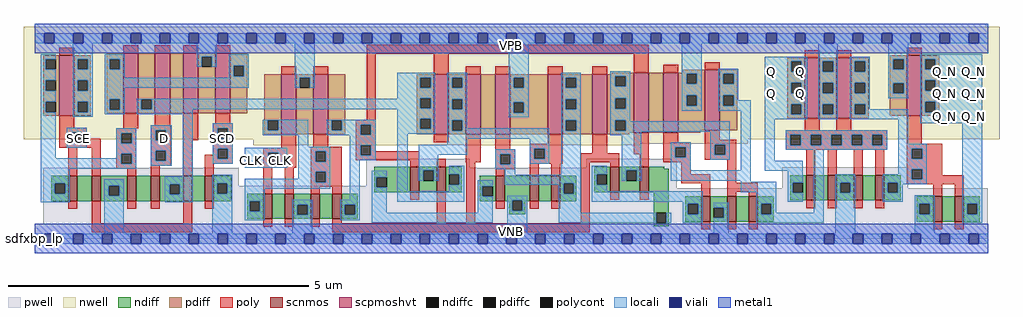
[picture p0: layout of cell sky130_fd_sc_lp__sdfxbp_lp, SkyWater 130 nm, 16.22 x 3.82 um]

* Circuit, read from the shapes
.subckt sky130_fd_sc_lp__sdfxbp_lp CLK D SCD SCE VGND VNB VPB VPWR Q Q_N
XM1 n1 SCE n2 VNB sky130_fd_pr__nfet_01v8 w=0.42 l=0.15
XM2 VGND SCE n1 VNB sky130_fd_pr__nfet_01v8 w=0.42 l=0.15
XM3 n3 n2 VGND VNB sky130_fd_pr__nfet_01v8 w=0.42 l=0.15
XM4 n4 D n3 VNB sky130_fd_pr__nfet_01v8 w=0.42 l=0.15
XM5 n5 SCE n4 VNB sky130_fd_pr__nfet_01v8 w=0.42 l=0.15
XM6 VGND SCD n5 VNB sky130_fd_pr__nfet_01v8 w=0.42 l=0.15
XM7 n6 CLK n7 VNB sky130_fd_pr__nfet_01v8 w=0.42 l=0.15
XM8 VGND CLK n6 VNB sky130_fd_pr__nfet_01v8 w=0.42 l=0.15
XM9 n8 n7 VGND VNB sky130_fd_pr__nfet_01v8 w=0.42 l=0.15
XM10 n9 n7 n8 VNB sky130_fd_pr__nfet_01v8 w=0.42 l=0.15
XM11 n10 n9 n11 VNB sky130_fd_pr__nfet_01v8 w=0.42 l=0.15
XM12 n4 n7 n10 VNB sky130_fd_pr__nfet_01v8 w=0.42 l=0.15
XM13 VGND n12 n11 VNB sky130_fd_pr__nfet_01v8 w=0.42 l=0.15
XM14 n13 n10 VGND VNB sky130_fd_pr__nfet_01v8 w=0.42 l=0.15
XM15 n12 n10 n13 VNB sky130_fd_pr__nfet_01v8 w=0.42 l=0.15
XM16 n14 n7 n15 VNB sky130_fd_pr__nfet_01v8 w=0.42 l=0.15
XM17 n12 n9 n14 VNB sky130_fd_pr__nfet_01v8 w=0.42 l=0.15
XM18 VGND n16 n15 VNB sky130_fd_pr__nfet_01v8 w=0.42 l=0.15
XM19 n17 n14 VGND VNB sky130_fd_pr__nfet_01v8 w=0.42 l=0.15
XM20 n16 n14 n17 VNB sky130_fd_pr__nfet_01v8 w=0.42 l=0.15
XM21 n18 n16 Q VNB sky130_fd_pr__nfet_01v8 w=0.42 l=0.15
XM22 VGND n16 n18 VNB sky130_fd_pr__nfet_01v8 w=0.42 l=0.15
XM23 n19 n16 VGND VNB sky130_fd_pr__nfet_01v8 w=0.42 l=0.15
XM24 n20 n16 n19 VNB sky130_fd_pr__nfet_01v8 w=0.42 l=0.15
XM25 n21 n20 VGND VNB sky130_fd_pr__nfet_01v8 w=0.42 l=0.15
XM26 Q_N n20 n21 VNB sky130_fd_pr__nfet_01v8 w=0.42 l=0.15
XM27 VPWR SCE n2 VPB sky130_fd_pr__pfet_01v8_hvt w=1 l=0.25
XM28 n4 n2 n22 VPB sky130_fd_pr__pfet_01v8_hvt w=1 l=0.25
XM29 n23 D n4 VPB sky130_fd_pr__pfet_01v8_hvt w=1 l=0.25
XM30 VPWR SCE n23 VPB sky130_fd_pr__pfet_01v8_hvt w=1 l=0.25
XM31 n22 SCD VPWR VPB sky130_fd_pr__pfet_01v8_hvt w=1 l=0.25
XM32 VPWR CLK n7 VPB sky130_fd_pr__pfet_01v8_hvt w=1 l=0.25
XM33 n9 n7 VPWR VPB sky130_fd_pr__pfet_01v8_hvt w=1 l=0.25
XM34 n10 n9 n4 VPB sky130_fd_pr__pfet_01v8_hvt w=1 l=0.25
XM35 n24 n7 n10 VPB sky130_fd_pr__pfet_01v8_hvt w=1 l=0.25
XM36 VPWR n12 n24 VPB sky130_fd_pr__pfet_01v8_hvt w=1 l=0.25
XM37 n12 n10 VPWR VPB sky130_fd_pr__pfet_01v8_hvt w=1 l=0.25
XM38 n14 n7 n12 VPB sky130_fd_pr__pfet_01v8_hvt w=1 l=0.25
XM39 n25 n9 n14 VPB sky130_fd_pr__pfet_01v8_hvt w=1 l=0.25
XM40 VPWR n16 n25 VPB sky130_fd_pr__pfet_01v8_hvt w=1 l=0.25
XM41 n16 n14 VPWR VPB sky130_fd_pr__pfet_01v8_hvt w=1 l=0.25
XM42 VPWR n16 Q VPB sky130_fd_pr__pfet_01v8_hvt w=1 l=0.25
XM43 n20 n16 VPWR VPB sky130_fd_pr__pfet_01v8_hvt w=1 l=0.25
XM44 Q_N n20 VPWR VPB sky130_fd_pr__pfet_01v8_hvt w=1 l=0.25
.ends

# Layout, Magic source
magic
tech sky130A
magscale 1 2
<< nwell >>
rect -38 331 3206 704
rect 726 316 2370 331
rect 726 311 2011 316
<< pwell >>
rect 1101 235 1445 265
rect 1833 258 2117 265
rect 1833 235 2133 258
rect 28 176 678 235
rect 1101 176 2133 235
rect 28 167 2133 176
rect 2484 167 2903 237
rect 28 49 3167 167
rect 0 0 3168 49
<< scnmos >>
rect 111 125 141 209
rect 189 125 219 209
rect 307 125 337 209
rect 385 125 415 209
rect 493 125 523 209
rect 565 125 595 209
rect 1248 155 1278 239
rect 1336 155 1366 239
rect 759 66 789 150
rect 831 66 861 150
rect 917 66 947 150
rect 989 66 1019 150
rect 1532 125 1562 209
rect 1644 125 1674 209
rect 1716 125 1746 209
rect 1912 155 1942 239
rect 2011 155 2041 239
rect 2215 57 2245 141
rect 2301 57 2331 141
rect 2373 57 2403 141
rect 2563 127 2593 211
rect 2635 127 2665 211
rect 2721 127 2751 211
rect 2793 127 2823 211
rect 2985 57 3015 141
rect 3057 57 3087 141
<< scpmoshvt >>
rect 81 409 131 609
rect 293 417 343 617
rect 399 417 449 617
rect 493 417 543 617
rect 599 417 649 617
rect 819 347 869 547
rect 925 347 975 547
rect 1326 347 1376 547
rect 1432 347 1482 547
rect 1530 347 1580 547
rect 1704 347 1754 547
rect 1852 347 1902 547
rect 1990 352 2040 552
rect 2089 352 2139 552
rect 2227 361 2277 561
rect 2558 401 2608 601
rect 2664 401 2714 601
rect 2898 409 2948 609
<< ndiff >>
rect 54 184 111 209
rect 54 150 66 184
rect 100 150 111 184
rect 54 125 111 150
rect 141 125 189 209
rect 219 176 307 209
rect 219 142 246 176
rect 280 142 307 176
rect 219 125 307 142
rect 337 125 385 209
rect 415 181 493 209
rect 415 147 448 181
rect 482 147 493 181
rect 415 125 493 147
rect 523 125 565 209
rect 595 184 652 209
rect 595 150 606 184
rect 640 150 652 184
rect 1127 205 1248 239
rect 1127 171 1135 205
rect 1169 171 1248 205
rect 1127 155 1248 171
rect 1278 227 1336 239
rect 1278 193 1291 227
rect 1325 193 1336 227
rect 1278 155 1336 193
rect 1366 214 1419 239
rect 1366 180 1377 214
rect 1411 180 1419 214
rect 1366 155 1419 180
rect 595 125 652 150
rect 706 125 759 150
rect 706 91 714 125
rect 748 91 759 125
rect 706 66 759 91
rect 789 66 831 150
rect 861 113 917 150
rect 861 79 872 113
rect 906 79 917 113
rect 861 66 917 79
rect 947 66 989 150
rect 1019 113 1073 150
rect 1019 79 1030 113
rect 1064 79 1073 113
rect 1019 66 1073 79
rect 1479 175 1532 209
rect 1479 141 1487 175
rect 1521 141 1532 175
rect 1479 125 1532 141
rect 1562 127 1644 209
rect 1562 125 1586 127
rect 1577 93 1586 125
rect 1620 125 1644 127
rect 1674 125 1716 209
rect 1746 184 1799 209
rect 1746 150 1757 184
rect 1791 150 1799 184
rect 1746 125 1799 150
rect 1620 93 1629 125
rect 1577 81 1629 93
rect 1859 214 1912 239
rect 1859 180 1867 214
rect 1901 180 1912 214
rect 1859 155 1912 180
rect 1942 227 2011 239
rect 1942 193 1966 227
rect 2000 193 2011 227
rect 1942 155 2011 193
rect 2041 232 2091 239
rect 2041 155 2107 232
rect 2056 87 2107 155
rect 2510 186 2563 211
rect 2510 152 2518 186
rect 2552 152 2563 186
rect 2056 53 2065 87
rect 2099 53 2107 87
rect 2161 116 2215 141
rect 2161 82 2170 116
rect 2204 82 2215 116
rect 2161 57 2215 82
rect 2245 103 2301 141
rect 2245 69 2256 103
rect 2290 69 2301 103
rect 2245 57 2301 69
rect 2331 57 2373 141
rect 2403 116 2456 141
rect 2510 127 2563 152
rect 2593 127 2635 211
rect 2665 186 2721 211
rect 2665 152 2676 186
rect 2710 152 2721 186
rect 2665 127 2721 152
rect 2751 127 2793 211
rect 2823 186 2877 211
rect 2823 152 2834 186
rect 2868 152 2877 186
rect 2823 127 2877 152
rect 2403 82 2414 116
rect 2448 82 2456 116
rect 2931 116 2985 141
rect 2403 57 2456 82
rect 2931 82 2940 116
rect 2974 82 2985 116
rect 2931 57 2985 82
rect 3015 57 3057 141
rect 3087 116 3141 141
rect 3087 82 3098 116
rect 3132 82 3141 116
rect 3087 57 3141 82
rect 2056 41 2107 53
<< pdiff >>
rect 27 597 81 609
rect 27 563 36 597
rect 70 563 81 597
rect 27 526 81 563
rect 27 492 36 526
rect 70 492 81 526
rect 27 455 81 492
rect 27 421 36 455
rect 70 421 81 455
rect 27 409 81 421
rect 131 597 185 609
rect 131 563 142 597
rect 176 563 185 597
rect 131 526 185 563
rect 131 492 142 526
rect 176 492 185 526
rect 131 455 185 492
rect 131 421 142 455
rect 176 421 185 455
rect 131 409 185 421
rect 239 597 293 617
rect 239 563 248 597
rect 282 563 293 597
rect 239 463 293 563
rect 239 429 248 463
rect 282 429 293 463
rect 239 417 293 429
rect 343 464 399 617
rect 343 430 354 464
rect 388 430 399 464
rect 343 417 399 430
rect 449 417 493 617
rect 543 605 599 617
rect 543 571 554 605
rect 588 571 599 605
rect 543 417 599 571
rect 649 574 706 617
rect 649 540 660 574
rect 694 540 706 574
rect 649 417 706 540
rect 762 394 819 547
rect 762 360 774 394
rect 808 360 819 394
rect 762 347 819 360
rect 869 535 925 547
rect 869 501 880 535
rect 914 501 925 535
rect 869 347 925 501
rect 975 394 1032 547
rect 2501 589 2558 601
rect 2154 552 2227 561
rect 1917 547 1990 552
rect 975 360 986 394
rect 1020 360 1032 394
rect 975 347 1032 360
rect 1269 535 1326 547
rect 1269 501 1281 535
rect 1315 501 1326 535
rect 1269 467 1326 501
rect 1269 433 1281 467
rect 1315 433 1326 467
rect 1269 399 1326 433
rect 1269 365 1281 399
rect 1315 365 1326 399
rect 1269 347 1326 365
rect 1376 535 1432 547
rect 1376 501 1387 535
rect 1421 501 1432 535
rect 1376 464 1432 501
rect 1376 430 1387 464
rect 1421 430 1432 464
rect 1376 393 1432 430
rect 1376 359 1387 393
rect 1421 359 1432 393
rect 1376 347 1432 359
rect 1482 347 1530 547
rect 1580 535 1704 547
rect 1580 501 1591 535
rect 1625 501 1704 535
rect 1580 453 1704 501
rect 1580 419 1591 453
rect 1625 419 1704 453
rect 1580 347 1704 419
rect 1754 535 1852 547
rect 1754 501 1765 535
rect 1799 501 1852 535
rect 1754 464 1852 501
rect 1754 430 1765 464
rect 1799 430 1852 464
rect 1754 393 1852 430
rect 1754 359 1765 393
rect 1799 359 1852 393
rect 1754 347 1852 359
rect 1902 540 1990 547
rect 1902 506 1929 540
rect 1963 506 1990 540
rect 1902 466 1990 506
rect 1902 432 1929 466
rect 1963 432 1990 466
rect 1902 393 1990 432
rect 1902 359 1929 393
rect 1963 359 1990 393
rect 1902 352 1990 359
rect 2040 352 2089 552
rect 2139 549 2227 552
rect 2139 515 2166 549
rect 2200 515 2227 549
rect 2139 476 2227 515
rect 2139 442 2166 476
rect 2200 442 2227 476
rect 2139 361 2227 442
rect 2277 549 2334 561
rect 2277 515 2288 549
rect 2322 515 2334 549
rect 2277 476 2334 515
rect 2277 442 2288 476
rect 2322 442 2334 476
rect 2277 361 2334 442
rect 2501 555 2513 589
rect 2547 555 2558 589
rect 2501 518 2558 555
rect 2501 484 2513 518
rect 2547 484 2558 518
rect 2501 447 2558 484
rect 2501 413 2513 447
rect 2547 413 2558 447
rect 2501 401 2558 413
rect 2608 589 2664 601
rect 2608 555 2619 589
rect 2653 555 2664 589
rect 2608 518 2664 555
rect 2608 484 2619 518
rect 2653 484 2664 518
rect 2608 447 2664 484
rect 2608 413 2619 447
rect 2653 413 2664 447
rect 2608 401 2664 413
rect 2714 589 2771 601
rect 2714 555 2725 589
rect 2759 555 2771 589
rect 2714 518 2771 555
rect 2714 484 2725 518
rect 2759 484 2771 518
rect 2714 447 2771 484
rect 2714 413 2725 447
rect 2759 413 2771 447
rect 2714 401 2771 413
rect 2841 597 2898 609
rect 2841 563 2853 597
rect 2887 563 2898 597
rect 2841 517 2898 563
rect 2841 483 2853 517
rect 2887 483 2898 517
rect 2841 409 2898 483
rect 2948 597 3005 609
rect 2948 563 2959 597
rect 2993 563 3005 597
rect 2948 526 3005 563
rect 2948 492 2959 526
rect 2993 492 3005 526
rect 2948 455 3005 492
rect 2948 421 2959 455
rect 2993 421 3005 455
rect 2948 409 3005 421
rect 2139 352 2212 361
rect 1902 347 1975 352
<< ndiffc >>
rect 66 150 100 184
rect 246 142 280 176
rect 448 147 482 181
rect 606 150 640 184
rect 1135 171 1169 205
rect 1291 193 1325 227
rect 1377 180 1411 214
rect 714 91 748 125
rect 872 79 906 113
rect 1030 79 1064 113
rect 1487 141 1521 175
rect 1586 93 1620 127
rect 1757 150 1791 184
rect 1867 180 1901 214
rect 1966 193 2000 227
rect 2518 152 2552 186
rect 2065 53 2099 87
rect 2170 82 2204 116
rect 2256 69 2290 103
rect 2676 152 2710 186
rect 2834 152 2868 186
rect 2414 82 2448 116
rect 2940 82 2974 116
rect 3098 82 3132 116
<< pdiffc >>
rect 36 563 70 597
rect 36 492 70 526
rect 36 421 70 455
rect 142 563 176 597
rect 142 492 176 526
rect 142 421 176 455
rect 248 563 282 597
rect 248 429 282 463
rect 354 430 388 464
rect 554 571 588 605
rect 660 540 694 574
rect 774 360 808 394
rect 880 501 914 535
rect 986 360 1020 394
rect 1281 501 1315 535
rect 1281 433 1315 467
rect 1281 365 1315 399
rect 1387 501 1421 535
rect 1387 430 1421 464
rect 1387 359 1421 393
rect 1591 501 1625 535
rect 1591 419 1625 453
rect 1765 501 1799 535
rect 1765 430 1799 464
rect 1765 359 1799 393
rect 1929 506 1963 540
rect 1929 432 1963 466
rect 1929 359 1963 393
rect 2166 515 2200 549
rect 2166 442 2200 476
rect 2288 515 2322 549
rect 2288 442 2322 476
rect 2513 555 2547 589
rect 2513 484 2547 518
rect 2513 413 2547 447
rect 2619 555 2653 589
rect 2619 484 2653 518
rect 2619 413 2653 447
rect 2725 555 2759 589
rect 2725 484 2759 518
rect 2725 413 2759 447
rect 2853 563 2887 597
rect 2853 483 2887 517
rect 2959 563 2993 597
rect 2959 492 2993 526
rect 2959 421 2993 455
<< poly >>
rect 81 609 131 635
rect 293 617 343 643
rect 399 617 449 643
rect 493 617 543 643
rect 599 617 649 643
rect 1103 615 2040 645
rect 819 547 869 573
rect 925 547 975 573
rect 81 369 131 409
rect 81 353 172 369
rect 293 367 343 417
rect 399 377 449 417
rect 81 319 122 353
rect 156 333 172 353
rect 271 351 337 367
rect 156 319 219 333
rect 81 303 219 319
rect 111 209 141 303
rect 189 209 219 303
rect 271 317 287 351
rect 321 317 337 351
rect 271 283 337 317
rect 271 249 287 283
rect 321 249 337 283
rect 271 233 337 249
rect 307 209 337 233
rect 385 361 451 377
rect 385 327 401 361
rect 435 327 451 361
rect 385 293 451 327
rect 385 259 401 293
rect 435 259 451 293
rect 385 243 451 259
rect 493 327 543 417
rect 599 383 649 417
rect 591 367 657 383
rect 591 333 607 367
rect 641 333 657 367
rect 1103 395 1133 615
rect 1326 547 1376 615
rect 1432 547 1482 573
rect 1530 547 1580 573
rect 1704 547 1754 573
rect 1852 547 1902 573
rect 1990 552 2040 615
rect 2558 601 2608 627
rect 2664 601 2714 627
rect 2898 609 2948 635
rect 2089 552 2139 578
rect 2227 561 2277 587
rect 1067 379 1133 395
rect 385 209 415 243
rect 493 209 523 327
rect 591 299 657 333
rect 819 302 869 347
rect 925 306 975 347
rect 1067 345 1083 379
rect 1117 345 1133 379
rect 2558 361 2608 401
rect 2664 361 2714 401
rect 1067 311 1133 345
rect 1326 321 1376 347
rect 591 279 607 299
rect 565 265 607 279
rect 641 265 657 299
rect 565 249 657 265
rect 759 286 869 302
rect 759 252 775 286
rect 809 252 869 286
rect 565 209 595 249
rect 759 236 869 252
rect 917 290 1019 306
rect 917 256 933 290
rect 967 256 1019 290
rect 1067 277 1083 311
rect 1117 291 1133 311
rect 1117 277 1278 291
rect 1067 261 1278 277
rect 759 150 789 236
rect 831 150 861 236
rect 917 222 1019 256
rect 1248 239 1278 261
rect 1336 239 1366 265
rect 1432 254 1482 347
rect 1530 297 1580 347
rect 1704 315 1754 347
rect 1644 299 1754 315
rect 1530 281 1596 297
rect 917 188 933 222
rect 967 188 1019 222
rect 917 172 1019 188
rect 917 150 947 172
rect 989 150 1019 172
rect 111 99 141 125
rect 189 51 219 125
rect 307 99 337 125
rect 385 99 415 125
rect 493 51 523 125
rect 565 99 595 125
rect 1248 129 1278 155
rect 189 21 523 51
rect 759 40 789 66
rect 831 40 861 66
rect 917 40 947 66
rect 989 51 1019 66
rect 1336 51 1366 155
rect 1434 51 1464 254
rect 1530 247 1546 281
rect 1580 247 1596 281
rect 1530 231 1596 247
rect 1644 265 1660 299
rect 1694 265 1754 299
rect 1852 284 1902 347
rect 1990 310 2040 352
rect 2089 320 2139 352
rect 2227 329 2277 361
rect 2495 345 2833 361
rect 1644 249 1754 265
rect 1814 254 1942 284
rect 1990 280 2041 310
rect 1532 209 1562 231
rect 1644 209 1674 249
rect 1716 209 1746 249
rect 1532 99 1562 125
rect 1644 99 1674 125
rect 1716 99 1746 125
rect 1814 51 1844 254
rect 1912 239 1942 254
rect 2011 239 2041 280
rect 2089 304 2179 320
rect 2089 270 2129 304
rect 2163 270 2179 304
rect 2089 254 2179 270
rect 2227 313 2331 329
rect 2227 279 2260 313
rect 2294 279 2331 313
rect 2495 311 2511 345
rect 2545 311 2579 345
rect 2613 311 2647 345
rect 2681 311 2715 345
rect 2749 311 2783 345
rect 2817 311 2833 345
rect 2495 295 2833 311
rect 2898 315 2948 409
rect 2898 299 3015 315
rect 2227 263 2331 279
rect 2149 215 2179 254
rect 2149 185 2245 215
rect 1912 129 1942 155
rect 2011 129 2041 155
rect 989 21 1844 51
rect 2215 141 2245 185
rect 2301 186 2331 263
rect 2563 211 2593 295
rect 2635 211 2665 295
rect 2721 211 2751 295
rect 2793 211 2823 295
rect 2898 265 2915 299
rect 2949 265 3015 299
rect 2898 231 3015 265
rect 2301 156 2403 186
rect 2301 141 2331 156
rect 2373 141 2403 156
rect 2898 197 2915 231
rect 2949 211 3015 231
rect 2949 197 3087 211
rect 2898 181 3087 197
rect 2985 141 3015 181
rect 3057 141 3087 181
rect 2563 101 2593 127
rect 2635 101 2665 127
rect 2721 101 2751 127
rect 2793 101 2823 127
rect 2215 31 2245 57
rect 2301 31 2331 57
rect 2373 31 2403 57
rect 2985 31 3015 57
rect 3057 31 3087 57
<< polycont >>
rect 122 319 156 353
rect 287 317 321 351
rect 287 249 321 283
rect 401 327 435 361
rect 401 259 435 293
rect 607 333 641 367
rect 1083 345 1117 379
rect 607 265 641 299
rect 775 252 809 286
rect 933 256 967 290
rect 1083 277 1117 311
rect 933 188 967 222
rect 1546 247 1580 281
rect 1660 265 1694 299
rect 2129 270 2163 304
rect 2260 279 2294 313
rect 2511 311 2545 345
rect 2579 311 2613 345
rect 2647 311 2681 345
rect 2715 311 2749 345
rect 2783 311 2817 345
rect 2915 265 2949 299
rect 2915 197 2949 231
<< locali >>
rect 0 649 31 683
rect 65 649 127 683
rect 161 649 223 683
rect 257 649 319 683
rect 353 649 415 683
rect 449 649 511 683
rect 545 649 607 683
rect 641 649 703 683
rect 737 649 799 683
rect 833 649 895 683
rect 929 649 991 683
rect 1025 649 1087 683
rect 1121 649 1183 683
rect 1217 649 1279 683
rect 1313 649 1375 683
rect 1409 649 1471 683
rect 1505 649 1567 683
rect 1601 649 1663 683
rect 1697 649 1759 683
rect 1793 649 1855 683
rect 1889 649 1951 683
rect 1985 649 2047 683
rect 2081 649 2143 683
rect 2177 649 2239 683
rect 2273 649 2335 683
rect 2369 649 2431 683
rect 2465 649 2527 683
rect 2561 649 2623 683
rect 2657 649 2719 683
rect 2753 649 2815 683
rect 2849 649 2911 683
rect 2945 649 3007 683
rect 3041 649 3103 683
rect 3137 649 3168 683
rect 20 597 70 613
rect 20 563 36 597
rect 20 526 70 563
rect 20 492 36 526
rect 20 455 70 492
rect 20 421 36 455
rect 20 267 70 421
rect 126 597 192 649
rect 126 563 142 597
rect 176 563 192 597
rect 126 526 192 563
rect 126 492 142 526
rect 176 492 192 526
rect 126 455 192 492
rect 126 421 142 455
rect 176 421 192 455
rect 126 405 192 421
rect 232 597 298 613
rect 232 563 248 597
rect 282 563 298 597
rect 538 605 604 649
rect 538 571 554 605
rect 588 571 604 605
rect 644 574 710 613
rect 232 535 298 563
rect 644 540 660 574
rect 694 540 710 574
rect 644 535 710 540
rect 232 501 710 535
rect 864 535 930 649
rect 864 501 880 535
rect 914 501 930 535
rect 1205 535 1331 551
rect 1205 501 1281 535
rect 1315 501 1331 535
rect 232 463 298 501
rect 1205 467 1331 501
rect 1205 465 1281 467
rect 232 429 248 463
rect 282 429 298 463
rect 232 413 298 429
rect 338 464 1281 465
rect 338 430 354 464
rect 388 433 1281 464
rect 1315 433 1331 467
rect 388 431 1331 433
rect 388 430 525 431
rect 338 413 525 430
rect 106 353 172 369
rect 106 319 122 353
rect 156 319 172 353
rect 106 303 172 319
rect 271 351 337 367
rect 271 317 287 351
rect 321 317 337 351
rect 271 283 337 317
rect 271 267 287 283
rect 20 249 287 267
rect 321 249 337 283
rect 20 233 337 249
rect 385 361 455 377
rect 385 327 401 361
rect 435 327 455 361
rect 385 293 455 327
rect 385 259 401 293
rect 435 259 455 293
rect 385 243 455 259
rect 20 184 116 233
rect 491 207 525 413
rect 1205 399 1331 431
rect 758 394 909 395
rect 591 367 657 383
rect 591 333 607 367
rect 641 333 657 367
rect 758 360 774 394
rect 808 360 909 394
rect 758 343 909 360
rect 970 394 1132 395
rect 970 360 986 394
rect 1020 379 1132 394
rect 1020 360 1083 379
rect 970 345 1083 360
rect 1117 345 1132 379
rect 970 343 1132 345
rect 591 299 657 333
rect 875 306 909 343
rect 1046 311 1132 343
rect 591 265 607 299
rect 641 265 657 299
rect 591 249 657 265
rect 697 286 839 302
rect 697 252 775 286
rect 809 252 839 286
rect 697 236 839 252
rect 875 290 982 306
rect 875 256 933 290
rect 967 256 982 290
rect 875 222 982 256
rect 20 150 66 184
rect 100 150 116 184
rect 20 121 116 150
rect 230 176 296 197
rect 230 142 246 176
rect 280 142 296 176
rect 230 17 296 142
rect 432 181 525 207
rect 432 147 448 181
rect 482 147 525 181
rect 432 121 525 147
rect 590 184 656 213
rect 875 200 933 222
rect 590 150 606 184
rect 640 150 656 184
rect 590 17 656 150
rect 698 188 933 200
rect 967 188 982 222
rect 698 166 982 188
rect 1046 277 1083 311
rect 1117 277 1132 311
rect 1046 261 1132 277
rect 1205 365 1281 399
rect 1315 365 1331 399
rect 1205 349 1331 365
rect 1371 535 1437 551
rect 1371 501 1387 535
rect 1421 501 1437 535
rect 1371 464 1437 501
rect 1371 430 1387 464
rect 1421 430 1437 464
rect 1371 393 1437 430
rect 1575 535 1641 649
rect 1575 501 1591 535
rect 1625 501 1641 535
rect 1575 453 1641 501
rect 1575 419 1591 453
rect 1625 419 1641 453
rect 1575 403 1641 419
rect 1749 535 1815 551
rect 1749 501 1765 535
rect 1799 501 1815 535
rect 1749 464 1815 501
rect 1749 430 1765 464
rect 1799 430 1815 464
rect 1371 359 1387 393
rect 1421 367 1437 393
rect 1749 393 1815 430
rect 1421 359 1710 367
rect 698 125 764 166
rect 1046 130 1080 261
rect 698 91 714 125
rect 748 91 764 125
rect 698 62 764 91
rect 856 113 922 130
rect 856 79 872 113
rect 906 79 922 113
rect 856 17 922 79
rect 1014 113 1080 130
rect 1014 79 1030 113
rect 1064 79 1080 113
rect 1014 62 1080 79
rect 1119 205 1169 225
rect 1119 171 1135 205
rect 1119 87 1169 171
rect 1205 157 1239 349
rect 1371 333 1710 359
rect 1371 313 1437 333
rect 1275 279 1437 313
rect 1644 299 1710 333
rect 1530 281 1596 297
rect 1275 227 1341 279
rect 1530 247 1546 281
rect 1580 247 1596 281
rect 1644 265 1660 299
rect 1694 265 1710 299
rect 1644 249 1710 265
rect 1749 359 1765 393
rect 1799 359 1815 393
rect 1275 193 1291 227
rect 1325 193 1341 227
rect 1377 214 1427 243
rect 1530 231 1596 247
rect 1411 180 1427 214
rect 1562 213 1596 231
rect 1749 213 1815 359
rect 1913 540 1979 556
rect 1913 506 1929 540
rect 1963 506 1979 540
rect 1913 466 1979 506
rect 1913 432 1929 466
rect 1963 432 1979 466
rect 1913 393 1979 432
rect 2150 549 2216 649
rect 2425 589 2567 605
rect 2150 515 2166 549
rect 2200 515 2216 549
rect 2150 476 2216 515
rect 2150 442 2166 476
rect 2200 442 2216 476
rect 2150 426 2216 442
rect 2272 549 2338 565
rect 2272 515 2288 549
rect 2322 515 2338 549
rect 2272 476 2338 515
rect 2272 442 2288 476
rect 2322 460 2338 476
rect 2425 555 2513 589
rect 2547 555 2567 589
rect 2425 518 2567 555
rect 2425 484 2513 518
rect 2547 484 2567 518
rect 2322 442 2380 460
rect 2272 426 2380 442
rect 1913 359 1929 393
rect 1963 390 1979 393
rect 1963 359 2310 390
rect 1913 356 2310 359
rect 1913 343 2016 356
rect 1377 157 1427 180
rect 1205 123 1427 157
rect 1471 175 1521 195
rect 1562 184 1815 213
rect 1562 179 1757 184
rect 1471 141 1487 175
rect 1741 150 1757 179
rect 1791 150 1815 184
rect 1471 87 1521 141
rect 1119 53 1521 87
rect 1570 127 1636 143
rect 1570 93 1586 127
rect 1620 93 1636 127
rect 1570 17 1636 93
rect 1741 87 1815 150
rect 1851 214 1901 243
rect 1851 180 1867 214
rect 1950 227 2016 343
rect 1950 193 1966 227
rect 2000 193 2016 227
rect 2113 304 2179 320
rect 2113 270 2129 304
rect 2163 270 2179 304
rect 2113 227 2179 270
rect 2244 313 2310 356
rect 2244 279 2260 313
rect 2294 279 2310 313
rect 2244 263 2310 279
rect 2346 227 2380 426
rect 2113 193 2380 227
rect 2425 447 2567 484
rect 2425 413 2513 447
rect 2547 413 2567 447
rect 2425 397 2567 413
rect 2603 589 2669 649
rect 2603 555 2619 589
rect 2653 555 2669 589
rect 2603 518 2669 555
rect 2603 484 2619 518
rect 2653 484 2669 518
rect 2603 447 2669 484
rect 2603 413 2619 447
rect 2653 413 2669 447
rect 2603 397 2669 413
rect 2709 589 2775 605
rect 2709 555 2725 589
rect 2759 555 2775 589
rect 2709 518 2775 555
rect 2709 484 2725 518
rect 2759 484 2775 518
rect 2709 447 2775 484
rect 2837 597 2903 649
rect 2837 563 2853 597
rect 2887 563 2903 597
rect 2837 517 2903 563
rect 2837 483 2853 517
rect 2887 483 2903 517
rect 2837 467 2903 483
rect 2943 597 3148 613
rect 2943 563 2959 597
rect 2993 563 3148 597
rect 2943 526 3148 563
rect 2943 492 2959 526
rect 2993 492 3148 526
rect 2709 413 2725 447
rect 2759 431 2775 447
rect 2943 455 3148 492
rect 2759 413 2903 431
rect 2709 397 2903 413
rect 2425 259 2459 397
rect 2495 345 2833 361
rect 2495 311 2511 345
rect 2545 311 2579 345
rect 2613 311 2647 345
rect 2681 311 2715 345
rect 2749 311 2783 345
rect 2817 311 2833 345
rect 2495 295 2833 311
rect 2869 315 2903 397
rect 2943 421 2959 455
rect 2993 421 3148 455
rect 2943 384 3148 421
rect 2869 299 2965 315
rect 2425 225 2552 259
rect 1851 157 1901 180
rect 2346 189 2380 193
rect 1851 123 2220 157
rect 2346 155 2464 189
rect 2154 116 2220 123
rect 1741 53 2065 87
rect 2099 53 2115 87
rect 2154 82 2170 116
rect 2204 82 2220 116
rect 2154 53 2220 82
rect 2256 103 2306 119
rect 2290 69 2306 103
rect 2256 17 2306 69
rect 2398 116 2464 155
rect 2502 186 2552 225
rect 2502 152 2518 186
rect 2502 123 2552 152
rect 2398 82 2414 116
rect 2448 87 2464 116
rect 2588 87 2622 295
rect 2869 265 2915 299
rect 2949 265 2965 299
rect 2869 231 2965 265
rect 2869 215 2915 231
rect 2448 82 2622 87
rect 2398 53 2622 82
rect 2660 186 2726 215
rect 2660 152 2676 186
rect 2710 152 2726 186
rect 2660 17 2726 152
rect 2818 197 2915 215
rect 2949 197 2965 231
rect 2818 186 2965 197
rect 2818 152 2834 186
rect 2868 181 2965 186
rect 2868 152 2884 181
rect 2818 123 2884 152
rect 2924 116 2990 145
rect 2924 82 2940 116
rect 2974 82 2990 116
rect 2924 17 2990 82
rect 3082 116 3148 384
rect 3082 82 3098 116
rect 3132 82 3148 116
rect 3082 53 3148 82
rect 0 -17 31 17
rect 65 -17 127 17
rect 161 -17 223 17
rect 257 -17 319 17
rect 353 -17 415 17
rect 449 -17 511 17
rect 545 -17 607 17
rect 641 -17 703 17
rect 737 -17 799 17
rect 833 -17 895 17
rect 929 -17 991 17
rect 1025 -17 1087 17
rect 1121 -17 1183 17
rect 1217 -17 1279 17
rect 1313 -17 1375 17
rect 1409 -17 1471 17
rect 1505 -17 1567 17
rect 1601 -17 1663 17
rect 1697 -17 1759 17
rect 1793 -17 1855 17
rect 1889 -17 1951 17
rect 1985 -17 2047 17
rect 2081 -17 2143 17
rect 2177 -17 2239 17
rect 2273 -17 2335 17
rect 2369 -17 2431 17
rect 2465 -17 2527 17
rect 2561 -17 2623 17
rect 2657 -17 2719 17
rect 2753 -17 2815 17
rect 2849 -17 2911 17
rect 2945 -17 3007 17
rect 3041 -17 3103 17
rect 3137 -17 3168 17
<< viali >>
rect 31 649 65 683
rect 127 649 161 683
rect 223 649 257 683
rect 319 649 353 683
rect 415 649 449 683
rect 511 649 545 683
rect 607 649 641 683
rect 703 649 737 683
rect 799 649 833 683
rect 895 649 929 683
rect 991 649 1025 683
rect 1087 649 1121 683
rect 1183 649 1217 683
rect 1279 649 1313 683
rect 1375 649 1409 683
rect 1471 649 1505 683
rect 1567 649 1601 683
rect 1663 649 1697 683
rect 1759 649 1793 683
rect 1855 649 1889 683
rect 1951 649 1985 683
rect 2047 649 2081 683
rect 2143 649 2177 683
rect 2239 649 2273 683
rect 2335 649 2369 683
rect 2431 649 2465 683
rect 2527 649 2561 683
rect 2623 649 2657 683
rect 2719 649 2753 683
rect 2815 649 2849 683
rect 2911 649 2945 683
rect 3007 649 3041 683
rect 3103 649 3137 683
rect 31 -17 65 17
rect 127 -17 161 17
rect 223 -17 257 17
rect 319 -17 353 17
rect 415 -17 449 17
rect 511 -17 545 17
rect 607 -17 641 17
rect 703 -17 737 17
rect 799 -17 833 17
rect 895 -17 929 17
rect 991 -17 1025 17
rect 1087 -17 1121 17
rect 1183 -17 1217 17
rect 1279 -17 1313 17
rect 1375 -17 1409 17
rect 1471 -17 1505 17
rect 1567 -17 1601 17
rect 1663 -17 1697 17
rect 1759 -17 1793 17
rect 1855 -17 1889 17
rect 1951 -17 1985 17
rect 2047 -17 2081 17
rect 2143 -17 2177 17
rect 2239 -17 2273 17
rect 2335 -17 2369 17
rect 2431 -17 2465 17
rect 2527 -17 2561 17
rect 2623 -17 2657 17
rect 2719 -17 2753 17
rect 2815 -17 2849 17
rect 2911 -17 2945 17
rect 3007 -17 3041 17
rect 3103 -17 3137 17
<< metal1 >>
rect 0 683 3168 715
rect 0 649 31 683
rect 65 649 127 683
rect 161 649 223 683
rect 257 649 319 683
rect 353 649 415 683
rect 449 649 511 683
rect 545 649 607 683
rect 641 649 703 683
rect 737 649 799 683
rect 833 649 895 683
rect 929 649 991 683
rect 1025 649 1087 683
rect 1121 649 1183 683
rect 1217 649 1279 683
rect 1313 649 1375 683
rect 1409 649 1471 683
rect 1505 649 1567 683
rect 1601 649 1663 683
rect 1697 649 1759 683
rect 1793 649 1855 683
rect 1889 649 1951 683
rect 1985 649 2047 683
rect 2081 649 2143 683
rect 2177 649 2239 683
rect 2273 649 2335 683
rect 2369 649 2431 683
rect 2465 649 2527 683
rect 2561 649 2623 683
rect 2657 649 2719 683
rect 2753 649 2815 683
rect 2849 649 2911 683
rect 2945 649 3007 683
rect 3041 649 3103 683
rect 3137 649 3168 683
rect 0 617 3168 649
rect 0 17 3168 49
rect 0 -17 31 17
rect 65 -17 127 17
rect 161 -17 223 17
rect 257 -17 319 17
rect 353 -17 415 17
rect 449 -17 511 17
rect 545 -17 607 17
rect 641 -17 703 17
rect 737 -17 799 17
rect 833 -17 895 17
rect 929 -17 991 17
rect 1025 -17 1087 17
rect 1121 -17 1183 17
rect 1217 -17 1279 17
rect 1313 -17 1375 17
rect 1409 -17 1471 17
rect 1505 -17 1567 17
rect 1601 -17 1663 17
rect 1697 -17 1759 17
rect 1793 -17 1855 17
rect 1889 -17 1951 17
rect 1985 -17 2047 17
rect 2081 -17 2143 17
rect 2177 -17 2239 17
rect 2273 -17 2335 17
rect 2369 -17 2431 17
rect 2465 -17 2527 17
rect 2561 -17 2623 17
rect 2657 -17 2719 17
rect 2753 -17 2815 17
rect 2849 -17 2911 17
rect 2945 -17 3007 17
rect 3041 -17 3103 17
rect 3137 -17 3168 17
rect 0 -49 3168 -17
<< labels >>
flabel pwell s 0 0 3168 49 0 FreeSans 200 0 0 0 VNB
port 6 nsew ground bidirectional
flabel nwell s 0 617 3168 666 0 FreeSans 200 0 0 0 VPB
port 7 nsew power bidirectional
rlabel comment s 0 0 0 0 4 sdfxbp_lp
flabel metal1 s 0 617 3168 666 0 FreeSans 340 0 0 0 VPWR
port 8 nsew power bidirectional
flabel metal1 s 0 0 3168 49 0 FreeSans 340 0 0 0 VGND
port 5 nsew ground bidirectional
flabel locali s 703 242 737 276 0 FreeSans 340 0 0 0 CLK
port 1 nsew clock input
flabel locali s 799 242 833 276 0 FreeSans 340 0 0 0 CLK
port 1 nsew clock input
flabel locali s 2431 464 2465 498 0 FreeSans 340 0 0 0 Q
port 9 nsew signal output
flabel locali s 2431 538 2465 572 0 FreeSans 340 0 0 0 Q
port 9 nsew signal output
flabel locali s 2527 464 2561 498 0 FreeSans 340 0 0 0 Q
port 9 nsew signal output
flabel locali s 2527 538 2561 572 0 FreeSans 340 0 0 0 Q
port 9 nsew signal output
flabel locali s 127 316 161 350 0 FreeSans 340 0 0 0 SCE
port 4 nsew signal input
flabel locali s 415 316 449 350 0 FreeSans 340 0 0 0 D
port 2 nsew signal input
flabel locali s 607 316 641 350 0 FreeSans 340 0 0 0 SCD
port 3 nsew signal input
flabel locali s 3007 390 3041 424 0 FreeSans 340 0 0 0 Q_N
port 10 nsew signal output
flabel locali s 3007 464 3041 498 0 FreeSans 340 0 0 0 Q_N
port 10 nsew signal output
flabel locali s 3007 538 3041 572 0 FreeSans 340 0 0 0 Q_N
port 10 nsew signal output
flabel locali s 3103 390 3137 424 0 FreeSans 340 0 0 0 Q_N
port 10 nsew signal output
flabel locali s 3103 464 3137 498 0 FreeSans 340 0 0 0 Q_N
port 10 nsew signal output
flabel locali s 3103 538 3137 572 0 FreeSans 340 0 0 0 Q_N
port 10 nsew signal output
<< properties >>
string LEFsite unit
string LEFclass CORE
string FIXED_BBOX 0 0 3168 666
string GDS_FILE $PDKPATH/libs.ref/sky130_fd_sc_lp/gds/sky130_fd_sc_lp.gds
string LEFsymmetry X Y R90
string GDS_END 6323682
string GDS_START 6303548
<< end >>
